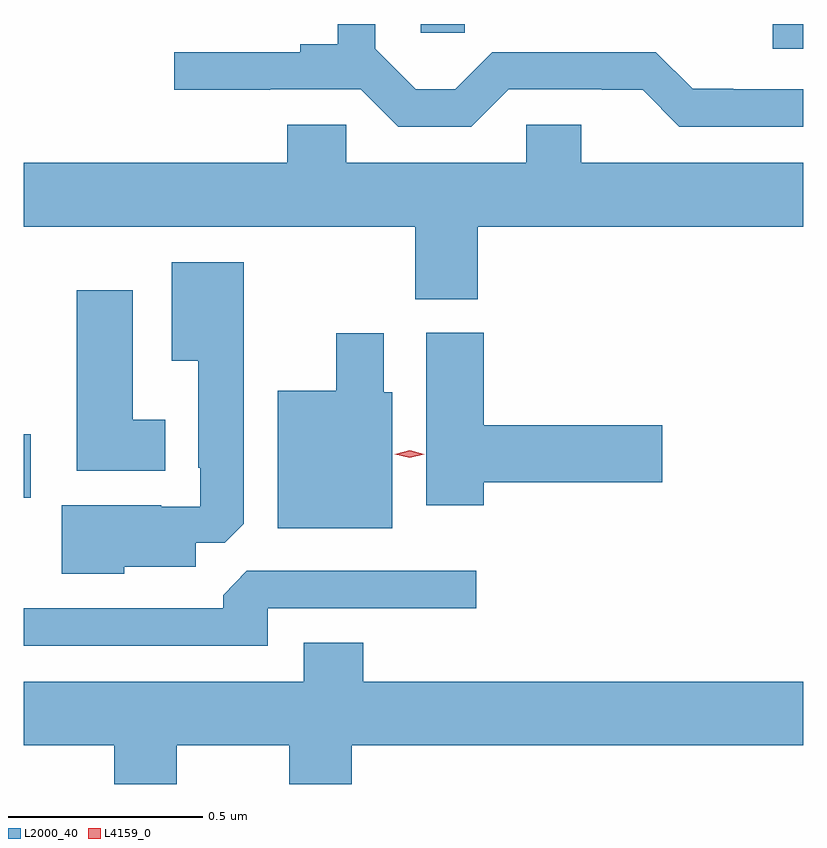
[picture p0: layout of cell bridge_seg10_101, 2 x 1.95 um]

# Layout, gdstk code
import gdstk
lib = gdstk.Library(unit=1e-6, precision=1e-09)
def R(c, l, rs):  # rectangles x0, y0, x1, y1
    for r in rs: c.add(gdstk.rectangle(r[:2], r[2:], *l))
def P(c, l, *ps):  # polygons
    for p in ps: c.add(gdstk.Polygon(p, *l))
L2000_40 = (2000, 40)
L4159_0 = (4159, 0)

bridge_seg10_101 = lib.new_cell('bridge_seg10_101')
R(bridge_seg10_101, L2000_40, [(508.417,1302.284,508.435,1302.447), (510.339,1303.437,510.417,1303.5), (509.436,1303.477,509.548,1303.5)])
P(bridge_seg10_101, L2000_40, [(509.661,1303.332),(509.9,1303.332),(509.9,1303.331),(510.005,1303.331),(510.099,1303.236),(510.417,1303.236),(510.417,1303.332),(510.238,1303.332),(510.238,1303.334),(510.134,1303.334),(510.039,1303.428),(509.619,1303.428),(509.524,1303.333),(509.423,1303.333),(509.319,1303.437),(509.319,1303.5),(509.222,1303.5),(509.222,1303.448),(509.126,1303.448),(509.126,1303.428),(508.803,1303.428),(508.803,1303.331),(509.049,1303.331),(509.049,1303.332),(509.282,1303.332),(509.378,1303.236),(509.565,1303.236)],
  [(509.582,1302.98),(510.417,1302.98),(510.417,1303.144),(509.848,1303.144),(509.848,1303.242),(509.706,1303.242),(509.706,1303.144),(509.244,1303.144),(509.244,1303.242),(509.093,1303.242),(509.093,1303.144),(508.417,1303.144),(508.417,1302.98),(509.422,1302.98),(509.422,1302.793),(509.582,1302.793)],
  [(508.674,1302.107),(508.858,1302.107),(508.858,1302.168),(508.932,1302.168),(508.981,1302.217),(508.981,1302.889),(508.796,1302.889),(508.796,1302.635),(508.865,1302.635),(508.865,1302.361),(508.869,1302.361),(508.869,1302.261),(508.769,1302.261),(508.769,1302.265),(508.514,1302.265),(508.514,1302.089),(508.674,1302.089)],
  [(508.78,1302.484),(508.696,1302.484),(508.696,1302.817),(508.553,1302.817),(508.553,1302.353),(508.78,1302.353)],
  [(509.597,1302.323),(510.055,1302.323),(510.055,1302.47),(509.597,1302.47),(509.597,1302.708),(509.45,1302.708),(509.45,1302.264),(509.597,1302.264)],
  [(509.362,1302.555),(509.341,1302.555),(509.341,1302.706),(509.219,1302.706),(509.219,1302.559),(509.069,1302.559),(509.069,1302.206),(509.362,1302.206)],
  [(509.043,1302),(509.578,1302),(509.578,1302.096),(508.989,1302.096),(508.928,1302.034),(508.928,1302),(508.417,1302),(508.417,1301.904),(509.043,1301.904)],
  [(508.809,1301.648),(509.098,1301.648),(509.098,1301.549),(509.258,1301.549),(509.258,1301.648),(510.417,1301.648),(510.417,1301.812),(509.288,1301.812),(509.288,1301.911),(509.135,1301.911),(509.135,1301.812),(508.417,1301.812),(508.417,1301.648),(508.649,1301.648),(508.649,1301.549),(508.809,1301.549)])
P(bridge_seg10_101, L4159_0, [(509.407,1302.386),(509.369,1302.396),(509.369,1302.396),(509.369,1302.396),(509.407,1302.406),(509.445,1302.396),(509.445,1302.396),(509.445,1302.396)])

lib.write_gds('bridge_seg10_101.gds')
